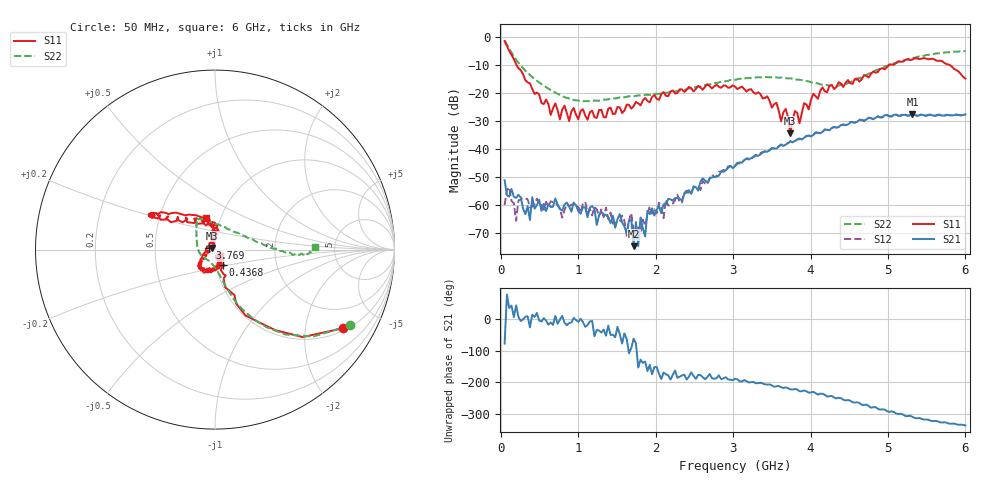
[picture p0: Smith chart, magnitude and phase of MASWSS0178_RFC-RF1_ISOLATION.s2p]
!Part No: MASWSS0178
!2-port De-embedded S-parameters
!Date: 11-02-09
!Temp: Room
!Control Voltage = 0/5V
!REF: AQTN1557
!Fixture Loss is only removed from S21 and S12 data
!47pF Blocking Caps
!RFC to RF1 Isolation State
#GHZ S MA R 50
!Freq(GHz)	S11 (Mag)	S11 (Ang)	S21 (Mag)	S21 (Ang)	S12 (Mag)	S12 (Ang)	S22 (Mag)	S22 (Ang)
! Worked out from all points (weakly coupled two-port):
!   201 points, 50 MHz to 6 GHz, reference 50 ohm
!   highest |S21| = -27.56 dB at 5.316 GHz (marker M1); lowest = -74.5 dB at 1.716 GHz (marker M2)
!   lowest |S11| = -34.3 dB at 3.739 GHz (marker M3), VSWR 1.04, Z = 48.4 + j0.935 ohm
!   |S11| at or under -10 dB: 202.5 MHz to 5.013 GHz (4.81 GHz wide, 184 % of centre); 5.796 GHz to end of sweep
!   |S22| runs from -23.0 to -1.3 dB; largest |S21 - S12| = 0.0032
!   S11 on the Smith chart (normalised r, x): 50 MHz: 1.09, -3.18; 436.8 MHz: 1.07, -0.19; 3.769 GHz: 0.94, +0.02; 6 GHz: 0.85, +0.31
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0.05  0.8358 -31.7  0.002798 -77.7  0.001013 27.1  0.8611 -29.4
0.1095  0.5608 -53.2  0.001433 35.5  0.002109 4.3  0.6141 -50.3
0.19875  0.3225 -68.7  0.001355 44.1  0.000529 5.3  0.3898 -63.9
0.43675  0.09608 -64.2  0.000871 7.0  0.001039 -4.1  0.1788 -76.0
1.0615  0.05154 -63.0  0.000929 -8.8  0.001081 0.3  0.07108 -122.2
1.62675  0.0622 -63.5  0.000326 -63.2  0.000288 -74.6  0.08569 -163.9
1.68625  0.05256 -70.8  0.000548 -91.5  0.00073 -113.7  0.08718 -165.7
1.716  0.05847 -60.2  0.000188 -62.1  0.00033 -123.8  0.08718 -168.3
1.74575  0.06947 -65.9  0.000504 -77.0  0.000252 -135.5  0.08924 -170.2
1.7755  0.06541 -72.6  0.000188 -153.7  0.000405 -114.3  0.09063 -171.1
1.80525  0.06038 -65.3  0.000612 -128.3  0.000345 -118.5  0.08996 -172.3
1.86475  0.08164 -70.1  0.00028 -134.4  0.000438 -137.5  0.09249 -176.6
1.8945  0.07228 -76.5  0.000799 -165.1  0.000665 -145.0  0.09348 -177.3
2.04325  0.07524 -69.1  0.000977 -173.3  0.001119 -160.3  0.0967 172.6
3.025  0.1302 -135.5  0.004969 171.0  0.005085 169.8  0.171 126.7
3.6795  0.05213 175.7  0.01206 143.5  0.01219 144.2  0.1837 113.1
3.739  0.01921 149.8  0.0138 137.2  0.01391 139.3  0.1823 110.3
3.76875  0.03257 161.9  0.01317 136.6  0.01344 135.7  0.18 109.9
4.0365  0.09725 92.1  0.01786 129.3  0.01791 128.4  0.1512 94.9
5.01825  0.3228 147.2  0.0383 65.4  0.03854 65.7  0.3129 1.6
5.31575  0.393 153.3  0.04187 49.8  0.04171 49.5  0.4179 -2.3
6  0.181 106.1  0.04155 22.5  0.0415 22.1  0.555 1.5
